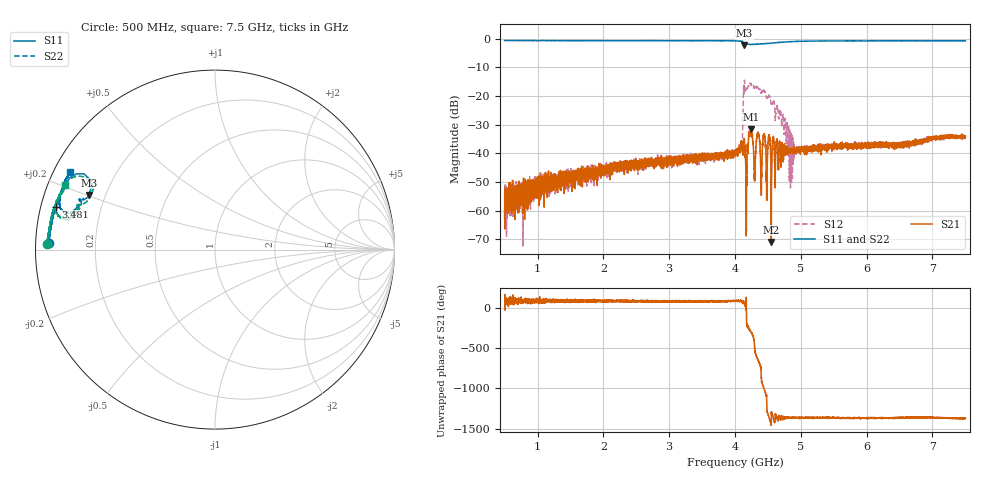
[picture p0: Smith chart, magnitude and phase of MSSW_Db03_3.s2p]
!Keysight Technologies,M9374A,MY55442783,A.12.55.05
!Date: Wednesday, May 19, 2021 15:45:02
!Correction: S11(Full 2 Port(1,2))
!S21(Full 2 Port(1,2))
!S12(Full 2 Port(1,2))
!S22(Full 2 Port(1,2))
!S2P File: Measurements: S11, S21, S12, S22:
# Hz S  RI  R 50
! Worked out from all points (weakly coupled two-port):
!   7001 points, 500 MHz to 7.5 GHz, reference 50 ohm
!   highest |S21| = -31.67 dB at 4.242 GHz (marker M1); lowest = -71.0 dB at 4.551 GHz (marker M2)
!   lowest |S11| = -2.3 dB at 4.144 GHz (marker M3), VSWR 7.52, Z = 6.93 + j10.2 ohm
!   |S11| at or under -10 dB: nowhere
!   |S22| runs from -2.5 to -0.6 dB; largest |S21 - S12| = 0.19
!   S11 on the Smith chart (normalised r, x): 500 MHz: 0.04, +0.02; 3.481 GHz: 0.04, +0.13; 7.5 GHz: 0.05, +0.25
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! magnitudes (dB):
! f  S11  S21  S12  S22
! 500 MHz  -0.6  -62.9  -55.3  -0.6
! 598 MHz  -0.7  -51.4  -61.7  -0.6
! 1.667 GHz  -0.7  -48.1  -51.3  -0.6
! 2.834 GHz  -0.7  -42.7  -42.7  -0.6
! 3.481 GHz  -0.7  -42.1  -41.6  -0.7
! 4 GHz  -0.8  -39.0  -40.0  -0.7
! 4.083 GHz  -0.9  -38.2  -38.6  -0.8
! 4.125 GHz  -1.6  -39.2  -21.9  -1.8
! 4.144 GHz  -2.3  -35.2  -14.6  -2.3
! 4.186 GHz  -1.9  -37.2  -17.5  -1.8
! 4.242 GHz  -2.1  -31.7  -15.6  -2.0
! 4.296 GHz  -1.9  -49.0  -17.0  -1.9
! 4.349 GHz  -1.9  -34.0  -16.8  -1.9
! 4.391 GHz  -1.8  -46.5  -18.9  -1.7
! 4.441 GHz  -1.8  -33.7  -18.2  -1.8
! 4.551 GHz  -1.5  -71.0  -23.1  -1.5
! 4.58 GHz  -1.5  -34.8  -21.5  -1.4
! 4.707 GHz  -1.3  -39.2  -30.0  -1.2
! 4.875 GHz  -1.0  -39.8  -37.0  -1.0
! 5.167 GHz  -0.8  -38.4  -38.6  -0.8
! 6.334 GHz  -0.7  -36.9  -37.7  -0.8
! 7.5 GHz  -0.7  -34.2  -34.6  -0.8
